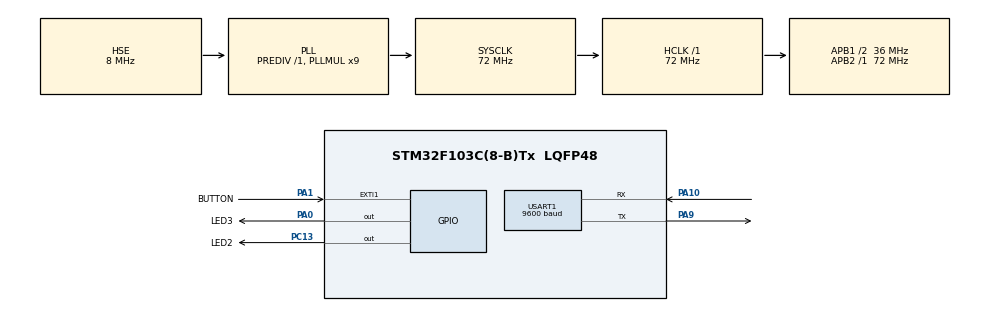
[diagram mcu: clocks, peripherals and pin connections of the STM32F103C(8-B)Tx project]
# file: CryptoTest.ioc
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Mcu.Family=STM32F1
Mcu.Name=STM32F103C(8-B)Tx
Mcu.Package=LQFP48
NVIC.EXTI1_IRQn=true\:0\:0\:false\:false\:true\:true\:true
NVIC.PriorityGroup=NVIC_PRIORITYGROUP_4
NVIC.TIM1_UP_IRQn=true\:0\:0\:false\:false\:true\:true\:true
PA0-WKUP.GPIO_Label=LED3
PA0-WKUP.Signal=GPIO_Output
PA1.GPIO_Label=BUTTON
PA1.GPIO_PuPd=GPIO_PULLDOWN
PA1.Signal=GPXTI1
PA10.Mode=Asynchronous
PA10.Signal=USART1_RX
PA13.Mode=Serial_Wire
PA13.Signal=SYS_JTMS-SWDIO
PA14.Mode=Serial_Wire
PA14.Signal=SYS_JTCK-SWCLK
PA2.Signal=USART2_TX
PA3.Signal=USART2_RX
PA7.GPIO_Label=TIMER1
PA7.Signal=TIM1_CH1N
PA9.Mode=Asynchronous
PA9.Signal=USART1_TX
PC13-TAMPER-RTC.GPIO_Label=LED2
PC13-TAMPER-RTC.PinState=GPIO_PIN_SET
PC13-TAMPER-RTC.Signal=GPIO_Output
PD0-OSC_IN.Mode=HSE-External-Oscillator
PD0-OSC_IN.Signal=RCC_OSC_IN
PD1-OSC_OUT.Mode=HSE-External-Oscillator
PD1-OSC_OUT.Signal=RCC_OSC_OUT
ProjectManager.HeapSize=0x200
ProjectManager.StackSize=0x400
ProjectManager.TargetToolchain=STM32CubeIDE
RCC.AHBFreq_Value=72000000
RCC.APB1CLKDivider=RCC_HCLK_DIV2
RCC.APB1Freq_Value=36000000
RCC.APB1TimFreq_Value=72000000
RCC.APB2Freq_Value=72000000
RCC.APB2TimFreq_Value=72000000
RCC.HCLKFreq_Value=72000000
RCC.PLLMUL=RCC_PLL_MUL9
RCC.PLLSourceVirtual=RCC_PLLSOURCE_HSE
RCC.SYSCLKFreq_VALUE=72000000
RCC.SYSCLKSource=RCC_SYSCLKSOURCE_PLLCLK
RCC.USBFreq_Value=72000000
TIM1.Period=72
USART1.BaudRate=9600
USART1.VirtualMode=VM_ASYNC
VP_CRC_VS_CRC.Mode=CRC_Activate
VP_TIM1_VS_ClockSourceINT.Mode=Internal
board=custom

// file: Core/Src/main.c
/* USER CODE BEGIN Header */
/**
  ******************************************************************************
  * @file           : main.c
  * @brief          : Main program body
  ******************************************************************************
  * @attention
  *
  * <h2><center>&copy; Copyright (c) 2021 STMicroelectronics.
  * All rights reserved.</center></h2>
  *
  * This software component is licensed by ST under BSD 3-Clause license,
  * the "License"; You may not use this file except in compliance with the
  * License. You may obtain a copy of the License at:
  *                        opensource.org/licenses/BSD-3-Clause
  *
  ******************************************************************************
  */
/* USER CODE END Header */
#include "main.h"

CRC_HandleTypeDef hcrc;

TIM_HandleTypeDef htim1;

UART_HandleTypeDef huart1;

/* USER CODE BEGIN PV */
/* Private typedef -----------------------------------------------------------*/
typedef enum {FAILED = 0, PASSED = !FAILED} TestStatus;
/* Private define ------------------------------------------------------------*/
#define TAG_LENGTH 4
#define PLAINTEXT_LENGTH 4
#define CIPHER_TEXT_LENGTH PLAINTEXT_LENGTH + TAG_LENGTH

/* Private macro -------------------------------------------------------------*/
/* Private variables ---------------------------------------------------------*/

/* Header message, will be authenticated but not encrypted */
const uint8_t HeaderMessage[] =
  {
    0x00, 0x01, 0x02, 0x03, 0x04, 0x05, 0x06, 0x07
  };

uint32_t HeaderLength = sizeof (HeaderMessage) ;

/* string length only, without '\0' end of string marker */

/* Payload message, will be authenticated and encrypted */
const uint8_t Plaintext[] =
  {
    0x20, 0x21, 0x22, 0x23
  };

/* string length only, without '\0' end of string marker */
uint32_t InputLength = sizeof (Plaintext) ;

/* Key to be used for AES encryption/decryption */
uint8_t Key[CRL_AES128_KEY] =
  {
    0x40, 0x41, 0x42, 0x43, 0x44, 0x45, 0x46, 0x47,
    0x48, 0x49, 0x4a, 0x4b, 0x4c, 0x4d, 0x4e, 0x4f
  };

/* Initialization Vector, used only in non-ECB modes */
uint8_t IV[] =
  {
    0x10, 0x11, 0x12, 0x13, 0x14, 0x15, 0x16
  };

/* NIST example 1 ciphertext vector: in encryption we expect this vector as result */
const uint8_t Expected_Ciphertext[CIPHER_TEXT_LENGTH] =
  {
    0x71, 0x62, 0x01, 0x5b, 0x4d, 0xac, 0x25, 0x5d
  };

/* USER CODE END PV */

void SystemClock_Config(void);
static void MX_GPIO_Init(void);
static void MX_CRC_Init(void);
static void MX_TIM1_Init(void);
static void MX_USART1_UART_Init(void);
/* USER CODE BEGIN PFP */
/* Buffer to store the output data and the authentication TAG */
uint8_t encrypt_OutputMessage[64];
uint8_t decrypt_OutputMessage[64];
int32_t encrypt_OutputMessageLength = 0;
int32_t decrypt_OutputMessageLength = 0;
int32_t AuthenticationTAGLength = 0;

uint8_t tag[64];

/* Private function prototypes -----------------------------------------------*/
int32_t STM32_AES_CCM_Encrypt(uint8_t*  HeaderMessage,
                              uint32_t  HeaderMessageLength,
                              uint8_t*  InputMessage,
                              uint32_t  InputMessageLength,
                              uint8_t  *AES128_Key,
                              uint8_t  *InitializationVector,
                              uint32_t  IvLength,
                              uint8_t  *OutputMessage,
                              int32_t *OutputMessageLength,
                              int32_t *AuthenticationTAGLength
                             );

int32_t STM32_AES_CCM_Decrypt(uint8_t*  HeaderMessage,
                              uint32_t  HeaderMessageLength,
                              uint8_t*  InputMessage,
                              uint32_t  InputMessageLength,
                              uint8_t  *AES128_Key,
                              uint8_t  *InitializationVector,
                              uint32_t  IvLength,
                              uint8_t  *OutputMessage,
                              int32_t *OutputMessageLength,
                              int32_t  AuthenticationTAGLength);

TestStatus Buffercmp(const uint8_t* pBuffer,
                     uint8_t* pBuffer1,
                     uint16_t BufferLength);

int32_t status = AES_SUCCESS;
uint32_t Decrypting_Time = 0;
/* USER CODE END PFP */

int main(void)
{

  /* MCU Configuration--------------------------------------------------------*/

  /* Reset of all peripherals, Initializes the Flash interface and the Systick. */
  HAL_Init();

  /* Configure the system clock */
  SystemClock_Config();

  /* Initialize all configured peripherals */
  MX_GPIO_Init();
  MX_CRC_Init();
  MX_TIM1_Init();
  MX_USART1_UART_Init();
  /* USER CODE BEGIN 2 */
  /* Encrypt DATA with AES in CCM mode and generate authentication TAG */
  /* Шифруем блок */

  status = STM32_AES_CCM_Encrypt( (uint8_t *) HeaderMessage, HeaderLength , (uint8_t *) Plaintext,
                                  InputLength, Key, IV, sizeof(IV), encrypt_OutputMessage,
                                  &encrypt_OutputMessageLength, &AuthenticationTAGLength);
  if (status == AES_SUCCESS)
  {

    if (Buffercmp(Expected_Ciphertext, encrypt_OutputMessage, CIPHER_TEXT_LENGTH) == PASSED)
    {
      /* add application traitment in case of AES CCM encryption is passed */

    }
    else
    {

      Error_Handler();

    }
  }
  else
  {

    /* In case of encryption/decryption not success possible values of status:
    * AES_ERR_BAD_OPERATION, AES_ERR_BAD_CONTEXT, AES_ERR_BAD_PARAMETER
    */

    Error_Handler();

  }

  /* Усыпляем процессор */
  // отключаем бит прерывания системного таймера
  HAL_SuspendTick();
  // входим в сяпящий режим
  HAL_PWR_EnterSLEEPMode(PWR_MAINREGULATOR_ON, PWR_SLEEPENTRY_WFI);

  /* USER CODE END 2 */

  /* Infinite loop */
  while (1)
  {

  }
}

void SystemClock_Config(void)
{
  RCC_OscInitTypeDef RCC_OscInitStruct = {0};
  RCC_ClkInitTypeDef RCC_ClkInitStruct = {0};

  /** Initializes the RCC Oscillators according to the specified parameters
  * in the RCC_OscInitTypeDef structure.
  */
  RCC_OscInitStruct.OscillatorType = RCC_OSCILLATORTYPE_HSE;
  RCC_OscInitStruct.HSEState = RCC_HSE_ON;
  RCC_OscInitStruct.HSEPredivValue = RCC_HSE_PREDIV_DIV1;
  RCC_OscInitStruct.HSIState = RCC_HSI_ON;
  RCC_OscInitStruct.PLL.PLLState = RCC_PLL_ON;
  RCC_OscInitStruct.PLL.PLLSource = RCC_PLLSOURCE_HSE;
  RCC_OscInitStruct.PLL.PLLMUL = RCC_PLL_MUL9;
  if (HAL_RCC_OscConfig(&RCC_OscInitStruct) != HAL_OK)
  {
    Error_Handler();
  }
  /** Initializes the CPU, AHB and APB buses clocks
  */
  RCC_ClkInitStruct.ClockType = RCC_CLOCKTYPE_HCLK|RCC_CLOCKTYPE_SYSCLK
                              |RCC_CLOCKTYPE_PCLK1|RCC_CLOCKTYPE_PCLK2;
  RCC_ClkInitStruct.SYSCLKSource = RCC_SYSCLKSOURCE_PLLCLK;
  RCC_ClkInitStruct.AHBCLKDivider = RCC_SYSCLK_DIV1;
  RCC_ClkInitStruct.APB1CLKDivider = RCC_HCLK_DIV2;
  RCC_ClkInitStruct.APB2CLKDivider = RCC_HCLK_DIV1;

  if (HAL_RCC_ClockConfig(&RCC_ClkInitStruct, FLASH_LATENCY_2) != HAL_OK)
  {
    Error_Handler();
  }
}

static void MX_CRC_Init(void)
{

  hcrc.Instance = CRC;
  if (HAL_CRC_Init(&hcrc) != HAL_OK)
  {
    Error_Handler();
  }

}

static void MX_TIM1_Init(void)
{

  TIM_ClockConfigTypeDef sClockSourceConfig = {0};
  TIM_MasterConfigTypeDef sMasterConfig = {0};

  htim1.Instance = TIM1;
  htim1.Init.Prescaler = 0;
  htim1.Init.CounterMode = TIM_COUNTERMODE_UP;
  htim1.Init.Period = 72;
  htim1.Init.ClockDivision = TIM_CLOCKDIVISION_DIV1;
  htim1.Init.RepetitionCounter = 0;
  htim1.Init.AutoReloadPreload = TIM_AUTORELOAD_PRELOAD_DISABLE;
  if (HAL_TIM_Base_Init(&htim1) != HAL_OK)
  {
    Error_Handler();
  }
  sClockSourceConfig.ClockSource = TIM_CLOCKSOURCE_INTERNAL;
  if (HAL_TIM_ConfigClockSource(&htim1, &sClockSourceConfig) != HAL_OK)
  {
    Error_Handler();
  }
  sMasterConfig.MasterOutputTrigger = TIM_TRGO_RESET;
  sMasterConfig.MasterSlaveMode = TIM_MASTERSLAVEMODE_DISABLE;
  if (HAL_TIMEx_MasterConfigSynchronization(&htim1, &sMasterConfig) != HAL_OK)
  {
    Error_Handler();
  }

}

static void MX_USART1_UART_Init(void)
{

  huart1.Instance = USART1;
  huart1.Init.BaudRate = 9600;
  huart1.Init.WordLength = UART_WORDLENGTH_8B;
  huart1.Init.StopBits = UART_STOPBITS_1;
  huart1.Init.Parity = UART_PARITY_NONE;
  huart1.Init.Mode = UART_MODE_TX_RX;
  huart1.Init.HwFlowCtl = UART_HWCONTROL_NONE;
  huart1.Init.OverSampling = UART_OVERSAMPLING_16;
  if (HAL_UART_Init(&huart1) != HAL_OK)
  {
    Error_Handler();
  }

}

static void MX_GPIO_Init(void)
{
  GPIO_InitTypeDef GPIO_InitStruct = {0};

  /* GPIO Ports Clock Enable */
  __HAL_RCC_GPIOC_CLK_ENABLE();
  __HAL_RCC_GPIOD_CLK_ENABLE();
  __HAL_RCC_GPIOA_CLK_ENABLE();

  /*Configure GPIO pin Output Level */
  HAL_GPIO_WritePin(LED2_GPIO_Port, LED2_Pin, GPIO_PIN_SET);

  /*Configure GPIO pin Output Level */
  HAL_GPIO_WritePin(LED3_GPIO_Port, LED3_Pin, GPIO_PIN_RESET);

  /*Configure GPIO pin : LED2_Pin */
  GPIO_InitStruct.Pin = LED2_Pin;
  GPIO_InitStruct.Mode = GPIO_MODE_OUTPUT_PP;
  GPIO_InitStruct.Pull = GPIO_NOPULL;
  GPIO_InitStruct.Speed = GPIO_SPEED_FREQ_LOW;
  HAL_GPIO_Init(LED2_GPIO_Port, &GPIO_InitStruct);

  /*Configure GPIO pin : LED3_Pin */
  GPIO_InitStruct.Pin = LED3_Pin;
  GPIO_InitStruct.Mode = GPIO_MODE_OUTPUT_PP;
  GPIO_InitStruct.Pull = GPIO_NOPULL;
  GPIO_InitStruct.Speed = GPIO_SPEED_FREQ_LOW;
  HAL_GPIO_Init(LED3_GPIO_Port, &GPIO_InitStruct);

  /*Configure GPIO pin : BUTTON_Pin */
  GPIO_InitStruct.Pin = BUTTON_Pin;
  GPIO_InitStruct.Mode = GPIO_MODE_IT_RISING;
  GPIO_InitStruct.Pull = GPIO_PULLDOWN;
  HAL_GPIO_Init(BUTTON_GPIO_Port, &GPIO_InitStruct);

  /*Configure GPIO pin : PA2 */
  GPIO_InitStruct.Pin = GPIO_PIN_2;
  GPIO_InitStruct.Mode = GPIO_MODE_AF_PP;
  GPIO_InitStruct.Speed = GPIO_SPEED_FREQ_HIGH;
  HAL_GPIO_Init(GPIOA, &GPIO_InitStruct);

  /*Configure GPIO pin : PA3 */
  GPIO_InitStruct.Pin = GPIO_PIN_3;
  GPIO_InitStruct.Mode = GPIO_MODE_INPUT;
  GPIO_InitStruct.Pull = GPIO_NOPULL;
  HAL_GPIO_Init(GPIOA, &GPIO_InitStruct);

  /* EXTI interrupt init*/
  HAL_NVIC_SetPriority(EXTI1_IRQn, 0, 0);
  HAL_NVIC_EnableIRQ(EXTI1_IRQn);

}

/* USER CODE BEGIN 4 */
/**
  * @brief  AES CCM Authenticated Encryption example.
  * @param  HeaderMessage: pointer to the header message. It will be authenticated but not encrypted.
  * @param  HeaderMessageLength: header message length in byte.
  * @param  Plaintext: pointer to input message to be encrypted.
  * @param  PlaintextLength: input data message length in byte.
  * @param  AES128_Key: pointer to the AES key to be used in the operation
  * @param  InitializationVector: pointer to the Initialization Vector (IV)
  * @param  IvLength: IV length in bytes.
  * @param  OutputMessage: pointer to output parameter that will handle the encrypted message and TAG
  * @param  OutputMessageLength: pointer to encrypted message length.
  * @param  AuthenticationTAGLength: authentication TAG length.
  * @retval error status: can be AES_SUCCESS if success or one of
  *         AES_ERR_BAD_OPERATION, AES_ERR_BAD_CONTEXT
  *         AES_ERR_BAD_PARAMETER if error occured.
  */

int32_t STM32_AES_CCM_Encrypt(uint8_t*  HeaderMessage,
                              uint32_t  HeaderMessageLength,
                              uint8_t*  Plaintext,
                              uint32_t  PlaintextLength,
                              uint8_t  *AES128_Key,
                              uint8_t  *InitializationVector,
                              uint32_t  IvLength,
                              uint8_t  *OutputMessage,
                              int32_t *OutputMessageLength,
                              int32_t *AuthenticationTAGLength
                             )
{
  AESCCMctx_stt AESctx;

  uint32_t error_status = AES_SUCCESS;

  /* Set flag field to default value */
  AESctx.mFlags = E_SK_DEFAULT;

  /* Set key size to 16 (corresponding to AES-128) */
  AESctx.mKeySize = 16;

  /* Set nonce size field to IvLength, note that valid values are 7,8,9,10,11,12,13*/
  AESctx.mNonceSize = IvLength;

  /* Size of returned authentication TAG */
  AESctx.mTagSize = 4;

  /* Set the size of the header */
  AESctx.mAssDataSize = HeaderMessageLength;

  /* Set the size of thepayload */
  AESctx.mPayloadSize = PlaintextLength;

  /* Initialize the operation, by passing the key and IV */
  error_status = AES_CCM_Encrypt_Init(&AESctx, AES128_Key, InitializationVector );

  /* check for initialization errors */
  if (error_status == AES_SUCCESS)
  {
    /* Process Header */
    error_status = AES_CCM_Header_Append(&AESctx,
                                         HeaderMessage,
                                         HeaderMessageLength);
    if (error_status == AES_SUCCESS)
    {
      /* Encrypt Data */
      error_status = AES_CCM_Encrypt_Append(&AESctx,
                                            Plaintext,
                                            PlaintextLength,
                                            OutputMessage,
                                            OutputMessageLength);

      if (error_status == AES_SUCCESS)
      {
        /* Do the Finalization, write the TAG at the end of the encrypted message */
        error_status = AES_CCM_Encrypt_Finish(&AESctx, OutputMessage + *OutputMessageLength, AuthenticationTAGLength);
      }
    }
  }

  return error_status;
}

/**
  * @brief  AES CCM Authenticated Decryption example.
  * @param  HeaderMessage: pointer to the header message. It will be authenticated but not Decrypted.
  * @param  HeaderMessageLength: header message length in byte.
  * @param  Plaintext: pointer to input message to be Decrypted.
  * @param  PlaintextLength: input data message length in byte.
  * @param  AES128_Key: pointer to the AES key to be used in the operation
  * @param  InitializationVector: pointer to the Initialization Vector (IV)
  * @param  IvLength: IV length in bytes.
  * @param  OutputMessage: pointer to output parameter that will handle the Decrypted message and TAG
  * @param  OutputMessageLength: pointer to Decrypted message length.
  * @param  AuthenticationTAGLength: authentication TAG length.
  * @retval error status: can be AUTHENTICATION_SUCCESSFUL if success or one of
  *         AES_ERR_BAD_OPERATION, AES_ERR_BAD_CONTEXT
  *         AES_ERR_BAD_PARAMETER, AUTHENTICATION_FAILED if error occured.
  */
int32_t STM32_AES_CCM_Decrypt(uint8_t*  HeaderMessage,
                              uint32_t  HeaderMessageLength,
                              uint8_t*  Plaintext,
                              uint32_t  PlaintextLength,
                              uint8_t  *AES128_Key,
                              uint8_t  *InitializationVector,
                              uint32_t  IvLength,
                              uint8_t  *OutputMessage,
                              int32_t *OutputMessageLength,
                              int32_t  AuthenticationTAGLength
                             )
{
  AESCCMctx_stt AESctx;

  uint32_t error_status = AES_SUCCESS;

  /* Set flag field to default value */
  AESctx.mFlags = E_SK_DEFAULT;

  /* Set key size to 16 (corresponding to AES-128) */
  AESctx.mKeySize = 16;

  /* Set nonce size field to IvLength, note that valid values are 7,8,9,10,11,12,13*/
  AESctx.mNonceSize = IvLength;

  /* Size of returned authentication TAG */
  AESctx.mTagSize = 4;

  /* Set the size of the header */
  AESctx.mAssDataSize = HeaderMessageLength;

  /* Set the size of thepayload */
  AESctx.mPayloadSize = PlaintextLength;

  /* Set the pointer to the TAG to be checked */
  AESctx.pmTag = Plaintext + PlaintextLength;

  /* Size of returned authentication TAG */
  AESctx.mTagSize = AuthenticationTAGLength;

  /* Initialize the operation, by passing the key and IV */
  error_status = AES_CCM_Decrypt_Init(&AESctx, AES128_Key, InitializationVector );

  /* check for initialization errors */
  if (error_status == AES_SUCCESS)
  {
    /* Process Header */
    error_status = AES_CCM_Header_Append(&AESctx,
                                         HeaderMessage,
                                         HeaderMessageLength);
    if (error_status == AES_SUCCESS)
    {
      /* Decrypt Data */
      error_status = AES_CCM_Decrypt_Append(&AESctx,
                                            Plaintext,
                                            PlaintextLength,
                                            OutputMessage,
                                            OutputMessageLength);

      if (error_status == AES_SUCCESS)
      {
        /* Do the Finalization, check the authentication TAG*/
        error_status = AES_CCM_Decrypt_Finish(&AESctx, NULL, &AuthenticationTAGLength);
      }
    }
  }

  return error_status;
}

/**
  * @brief  Compares two buffers.
  * @param  pBuffer, pBuffer1: buffers to be compared.
  * @param  BufferLength: buffer's length
  * @retval PASSED: pBuffer identical to pBuffer1
  *         FAILED: pBuffer differs from pBuffer1
  */

TestStatus Buffercmp(const uint8_t* pBuffer, uint8_t* pBuffer1, uint16_t BufferLength)
{
  while (BufferLength--)
  {
    if (*pBuffer != *pBuffer1)
    {
      return FAILED;
    }

    pBuffer++;
    pBuffer1++;
  }

  return PASSED;
}

void HAL_GPIO_EXTI_Callback(uint16_t GPIO_Pin)
{
	// Была нажата кнопка, поэтому запускаем обработчик прерываний

	// �?ндицируем работу по прерыванию
	HAL_GPIO_WritePin(LED3_GPIO_Port, LED3_Pin, GPIO_PIN_SET);
	  /* Будим ядро */
	  HAL_ResumeTick();

	  /* Запускаем отсчте таймера */
	  time_Decrypt = 0; // обнуляем переменную счетчика

	  /* Расшифровываем блок */
	  /* Decrypt DATA with AES in CCM mode and check the authentication TAG */
	  status = STM32_AES_CCM_Decrypt( (uint8_t *) HeaderMessage, sizeof(HeaderMessage), (uint8_t *) encrypt_OutputMessage,
	                                  encrypt_OutputMessageLength, Key, IV, sizeof(IV), decrypt_OutputMessage,
	                                  &decrypt_OutputMessageLength, AuthenticationTAGLength);
	  if (status == AUTHENTICATION_SUCCESSFUL)
	  {

	    if (Buffercmp(Plaintext, decrypt_OutputMessage, PLAINTEXT_LENGTH) == PASSED)
	    {
	      /* add application traitment in case of AES CCM encryption is passed */

	    }
	    else
	    {

	      Error_Handler();

	    }
	    /* Add application traitment in case of AES CCM authentication is successful */
	  }
	  else
	  {
	    /*  In case of AES CCM authentication is failed possible values
	      *  of status:
	      * AES_ERR_BAD_OPERATION, AES_ERR_BAD_CONTEXT, AES_ERR_BAD_PARAMETER,
	      * AUTHENTICATION_FAILED
	      */

	    Error_Handler();

	  }

	  /* Фиксируем время */
      Decrypting_Time = time_Decrypt;

	  /* Отправляем расшифрованный блок и потраченное на расшифровку время */
      HAL_UART_Transmit(&huart1, decrypt_OutputMessage, 64, 1000);
      HAL_UART_Transmit(&huart1, (uint8_t*)Decrypting_Time, 32, 1000);

	  /* Turn on the green led in an infinite loop in case of AES CCM operations are succssfuls*/
	  HAL_GPIO_WritePin(LED2_GPIO_Port, LED2_Pin, GPIO_PIN_RESET);
}

/* USER CODE END 4 */

void Error_Handler(void)
{
  __disable_irq();
  while (1)
  {
  }
}

/************************ (C) COPYRIGHT STMicroelectronics *****END OF FILE****/
